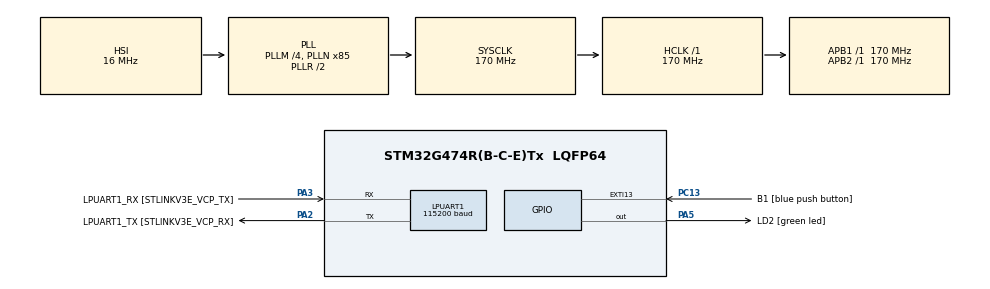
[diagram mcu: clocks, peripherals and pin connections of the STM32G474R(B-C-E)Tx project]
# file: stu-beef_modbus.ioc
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LPUART1.BaudRate=115200
LPUART1.WordLength=UART_WORDLENGTH_8B
Mcu.Family=STM32G4
Mcu.Name=STM32G474R(B-C-E)Tx
Mcu.Package=LQFP64
NVIC.EXTI15_10_IRQn=true\:0\:0\:false\:false\:true\:true\:true\:true
NVIC.PriorityGroup=NVIC_PRIORITYGROUP_4
PA13.GPIO_Label=T_SWDIO
PA13.Mode=Serial_Wire
PA13.Signal=SYS_JTMS-SWDIO
PA14.GPIO_Label=T_SWCLK
PA14.Mode=Serial_Wire
PA14.Signal=SYS_JTCK-SWCLK
PA2.GPIO_Label=LPUART1_TX [STLINKV3E_VCP_RX]
PA2.Mode=Asynchronous
PA2.Signal=LPUART1_TX
PA3.GPIO_Label=LPUART1_RX [STLINKV3E_VCP_TX]
PA3.Mode=Asynchronous
PA3.Signal=LPUART1_RX
PA5.GPIO_Label=LD2 [green led]
PA5.Signal=GPIO_Output
PB3.GPIO_Label=T_SWO
PB3.Signal=SYS_JTDO-SWO
PC13.GPIO_Label=B1 [blue push button]
PC13.Signal=GPXTI13
PC14-OSC32_IN.Mode=LSE-External-Oscillator
PC14-OSC32_IN.Signal=RCC_OSC32_IN
PC15-OSC32_OUT.Mode=LSE-External-Oscillator
PC15-OSC32_OUT.Signal=RCC_OSC32_OUT
PF0-OSC_IN.Mode=HSE-External-Oscillator
PF0-OSC_IN.Signal=RCC_OSC_IN
PF1-OSC_OUT.Mode=HSE-External-Oscillator
PF1-OSC_OUT.Signal=RCC_OSC_OUT
ProjectManager.HeapSize=0x200
ProjectManager.StackSize=0x400
ProjectManager.TargetToolchain=STM32CubeIDE
RCC.ADC12Freq_Value=170000000
RCC.ADC345Freq_Value=170000000
RCC.AHBFreq_Value=170000000
RCC.APB1Freq_Value=170000000
RCC.APB1TimFreq_Value=170000000
RCC.APB2Freq_Value=170000000
RCC.APB2TimFreq_Value=170000000
RCC.CortexFreq_Value=170000000
RCC.EXTERNAL_CLOCK_VALUE=12288000
RCC.HCLKFreq_Value=170000000
RCC.HSE_VALUE=24000000
RCC.HSI48_VALUE=48000000
RCC.HSI_VALUE=16000000
RCC.PLLM=RCC_PLLM_DIV4
RCC.PLLN=85
RCC.RTCClockSelection=RCC_RTCCLKSOURCE_LSE
RCC.SYSCLKFreq_VALUE=170000000
RCC.SYSCLKSource=RCC_SYSCLKSOURCE_PLLCLK
RCC.USBFreq_Value=170000000
RCC.VCOOutputFreq_Value=340000000
VP_SYS_VS_DBSignals.Mode=DisableDeadBatterySignals
board=NUCLEO-G474RE

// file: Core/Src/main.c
/* USER CODE BEGIN Header */
/**
 ******************************************************************************
 * @file           : main.c
 * @brief          : Main program body
 ******************************************************************************
 * @attention
 *
 * Copyright (c) 2024 STMicroelectronics.
 * All rights reserved.
 *
 * This software is licensed under terms that can be found in the LICENSE file
 * in the root directory of this software component.
 * If no LICENSE file comes with this software, it is provided AS-IS.
 *
 ******************************************************************************
 */
/* USER CODE END Header */
#include "main.h"

#define slave_address 0x15 // Modbus slave address

UART_HandleTypeDef hlpuart1;

/* USER CODE BEGIN PV */
uint8_t rxBuffer[20];
uint8_t txBuffer[40];
uint16_t holding_registers[100]; // Example: 100 holding registers

/* USER CODE END PV */

void SystemClock_Config(void);
static void MX_GPIO_Init(void);
static void MX_LPUART1_UART_Init(void);
/* USER CODE BEGIN PFP */
void UARTInterruptConfig();
uint8_t modbus_send_adu(uint8_t *adu, uint16_t adu_length);
uint8_t modbus_receive_adu(uint8_t *adu, uint16_t *adu_length);
/* USER CODE END PFP */

int main(void)
{

  /* MCU Configuration--------------------------------------------------------*/

  /* Reset of all peripherals, Initializes the Flash interface and the Systick. */
  HAL_Init();

  /* Configure the system clock */
  SystemClock_Config();

  /* Initialize all configured peripherals */
  MX_GPIO_Init();
  MX_LPUART1_UART_Init();

  /* Infinite loop */
  while (1)
  {

    /* USER CODE BEGIN 3 */
    uint8_t adu[8]; // Assuming a simple Modbus RTU ADU structure
    uint16_t adu_length;
    uint8_t status = modbus_receive_adu(adu, &adu_length);
    if (status != 0)
    {
      // Handle reception error
      continue; // Skip to next iteration
    }

    // Check if received address matches slave address
    if (adu[0] != slave_address)
    {
      continue; // Not for this slave, ignore
    }

    // Process Modbus request (implemented in modbus_process_adu)
    status = modbus_process_adu(adu, adu_length, holding_registers);
    if (status != 0)
    {
      // Handle processing error (e.g., invalid function code, illegal address)
      continue; // Send exception response (optional)
    }
  }
  /* USER CODE END 3 */
}

void SystemClock_Config(void)
{
  RCC_OscInitTypeDef RCC_OscInitStruct = {0};
  RCC_ClkInitTypeDef RCC_ClkInitStruct = {0};

  /** Configure the main internal regulator output voltage
   */
  HAL_PWREx_ControlVoltageScaling(PWR_REGULATOR_VOLTAGE_SCALE1_BOOST);

  /** Initializes the RCC Oscillators according to the specified parameters
   * in the RCC_OscInitTypeDef structure.
   */
  RCC_OscInitStruct.OscillatorType = RCC_OSCILLATORTYPE_HSI;
  RCC_OscInitStruct.HSIState = RCC_HSI_ON;
  RCC_OscInitStruct.HSICalibrationValue = RCC_HSICALIBRATION_DEFAULT;
  RCC_OscInitStruct.PLL.PLLState = RCC_PLL_ON;
  RCC_OscInitStruct.PLL.PLLSource = RCC_PLLSOURCE_HSI;
  RCC_OscInitStruct.PLL.PLLM = RCC_PLLM_DIV4;
  RCC_OscInitStruct.PLL.PLLN = 85;
  RCC_OscInitStruct.PLL.PLLP = RCC_PLLP_DIV2;
  RCC_OscInitStruct.PLL.PLLQ = RCC_PLLQ_DIV2;
  RCC_OscInitStruct.PLL.PLLR = RCC_PLLR_DIV2;
  if (HAL_RCC_OscConfig(&RCC_OscInitStruct) != HAL_OK)
  {
    Error_Handler();
  }

  /** Initializes the CPU, AHB and APB buses clocks
   */
  RCC_ClkInitStruct.ClockType = RCC_CLOCKTYPE_HCLK | RCC_CLOCKTYPE_SYSCLK | RCC_CLOCKTYPE_PCLK1 | RCC_CLOCKTYPE_PCLK2;
  RCC_ClkInitStruct.SYSCLKSource = RCC_SYSCLKSOURCE_PLLCLK;
  RCC_ClkInitStruct.AHBCLKDivider = RCC_SYSCLK_DIV1;
  RCC_ClkInitStruct.APB1CLKDivider = RCC_HCLK_DIV1;
  RCC_ClkInitStruct.APB2CLKDivider = RCC_HCLK_DIV1;

  if (HAL_RCC_ClockConfig(&RCC_ClkInitStruct, FLASH_LATENCY_4) != HAL_OK)
  {
    Error_Handler();
  }
}

static void MX_LPUART1_UART_Init(void)
{

  hlpuart1.Instance = LPUART1;
  hlpuart1.Init.BaudRate = 115200;
  hlpuart1.Init.WordLength = UART_WORDLENGTH_8B;
  hlpuart1.Init.StopBits = UART_STOPBITS_1;
  hlpuart1.Init.Parity = UART_PARITY_NONE;
  hlpuart1.Init.Mode = UART_MODE_TX_RX;
  hlpuart1.Init.HwFlowCtl = UART_HWCONTROL_NONE;
  hlpuart1.Init.OneBitSampling = UART_ONE_BIT_SAMPLE_DISABLE;
  hlpuart1.Init.ClockPrescaler = UART_PRESCALER_DIV1;
  hlpuart1.AdvancedInit.AdvFeatureInit = UART_ADVFEATURE_NO_INIT;
  if (HAL_UART_Init(&hlpuart1) != HAL_OK)
  {
    Error_Handler();
  }
  if (HAL_UARTEx_SetTxFifoThreshold(&hlpuart1, UART_TXFIFO_THRESHOLD_1_8) != HAL_OK)
  {
    Error_Handler();
  }
  if (HAL_UARTEx_SetRxFifoThreshold(&hlpuart1, UART_RXFIFO_THRESHOLD_1_8) != HAL_OK)
  {
    Error_Handler();
  }
  if (HAL_UARTEx_DisableFifoMode(&hlpuart1) != HAL_OK)
  {
    Error_Handler();
  }
}

static void MX_GPIO_Init(void)
{
  GPIO_InitTypeDef GPIO_InitStruct = {0};

  /* GPIO Ports Clock Enable */
  __HAL_RCC_GPIOC_CLK_ENABLE();
  __HAL_RCC_GPIOF_CLK_ENABLE();
  __HAL_RCC_GPIOA_CLK_ENABLE();
  __HAL_RCC_GPIOB_CLK_ENABLE();

  /*Configure GPIO pin Output Level */
  HAL_GPIO_WritePin(LD2_GPIO_Port, LD2_Pin, GPIO_PIN_RESET);

  /*Configure GPIO pin : B1_Pin */
  GPIO_InitStruct.Pin = B1_Pin;
  GPIO_InitStruct.Mode = GPIO_MODE_IT_RISING;
  GPIO_InitStruct.Pull = GPIO_NOPULL;
  HAL_GPIO_Init(B1_GPIO_Port, &GPIO_InitStruct);

  /*Configure GPIO pin : LD2_Pin */
  GPIO_InitStruct.Pin = LD2_Pin;
  GPIO_InitStruct.Mode = GPIO_MODE_OUTPUT_PP;
  GPIO_InitStruct.Pull = GPIO_NOPULL;
  GPIO_InitStruct.Speed = GPIO_SPEED_FREQ_LOW;
  HAL_GPIO_Init(LD2_GPIO_Port, &GPIO_InitStruct);

  /* EXTI interrupt init*/
  HAL_NVIC_SetPriority(EXTI15_10_IRQn, 0, 0);
  HAL_NVIC_EnableIRQ(EXTI15_10_IRQn);

}

/* USER CODE BEGIN 4 */
uint8_t modbus_process_adu(uint8_t *adu, uint16_t adu_length, uint16_t *holding_registers)
{
  // TODO: implement this function
  switch (adu[1])
  {
  case 0x00:
  default:
    return modbus_send_adu();
  }
}

uint8_t modbus_send_adu(uint8_t *adu, uint16_t adu_length)
{

  // TODO: send adu
  HAL_UART_Transmit(&hlpuart1, adu, strlen((char *)adu), 10);
}

uint8_t modbus_receive_adu(uint8_t *adu, uint16_t *adu_length)
{
  // Replace with your specific UART instance and receive buffer management
  UART_HandleTypeDef huart; // Assuming UART1 is used
  uint8_t rx_buffer[8];     // Buffer to store received bytes

  // Wait for silent period before message (optional, adjust timeout)
  uint32_t timeout = 3; // Adjust timeout value in milliseconds
  while (HAL_UART_Receive(&huart, rx_buffer, 1, timeout) != HAL_OK)
  {
    if (--timeout == 0)
    {
      return 1; // Timeout error
    }
  }

  if (rx_buffer[0] != 0)
  {           // Check for silent period violation
    return 2; // Framing error (extra data before message)
  }

  // Receive complete ADU
  for (int i = 0; i < *adu_length; i++)
  {
    if (HAL_UART_Receive(&huart, rx_buffer, 1, timeout) != HAL_OK)
    {
      return 3; // Timeout error during reception
    }
    adu[i] = rx_buffer[0];
  }

  // Calculate expected byte count based on function code (adjust as needed)
  // uint8_t expected_length = 5;

  // switch (adu[1])
  // {
  // case 0x0F: // Exception response
  //   expected_length = 5;
  //   break;
  // case 0x01: // Read Coil Status
  // case 0x02: // Read Input Status
  // case 0x03: // Read Holding Registers
  // case 0x04: // Read Input Registers
  //   expected_length = 8;
  //   break;
  // case 0x05: // Write Single Coil
  // case 0x06: // Write Single Register
  // case 0x10: // Write Multiple Coils
  // case 0x11: // Write Multiple Registers
  //   expected_length = 8;
  //   break;
  //   // ... handle other function codes as needed
  // }

  // Check ADU length
  // if (*adu_length != expected_length)
  // {
  //   return 4; // Invalid ADU length
  // }

  //  // CRC check (replace with your CRC calculation and validation)
  //   uint16_t calculated_crc = calculate_crc(adu, *adu_length - 2);
  //   if (calculated_crc != (adu[*adu_length - 1] | (adu[*adu_length - 2] << 8))) {
  //     return 5; // CRC error
  //   }

  return 0; // No errors
}
/* USER CODE END 4 */

void Error_Handler(void)
{
  __disable_irq();
  while (1)
  {
  }
}
